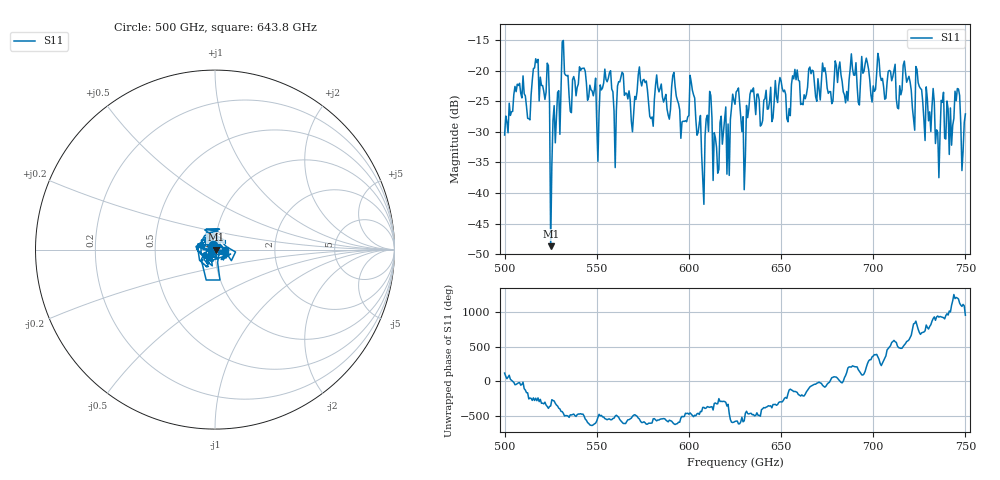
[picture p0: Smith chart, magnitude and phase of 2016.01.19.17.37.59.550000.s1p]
!Created with skrf (http://scikit-rf.org).
# GHz S RI R 50.0
!freq ReS11 ImS11
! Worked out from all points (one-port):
!   401 points, 500 GHz to 750 GHz, reference 50 ohm
!   lowest |S11| = -48.7 dB at 525 GHz (marker M1), VSWR 1.01, Z = 50.4 + j0.00364 ohm
!   |S11| at or under -10 dB: start of sweep to end of sweep
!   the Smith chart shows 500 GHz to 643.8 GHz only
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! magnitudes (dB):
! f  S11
! 500 GHz  -30.5
! 506.9 GHz  -22.2
! 513.1 GHz  -27.8
! 516.9 GHz  -18.1
! 523.1 GHz  -18.8
! 525 GHz  -48.7
! 526.2 GHz  -28.1
! 531.2 GHz  -15.3
! 551.2 GHz  -26.9
! 562.5 GHz  -21.8
! 569.4 GHz  -30.0
! 573.8 GHz  -21.7
! 579.4 GHz  -27.8
! 593.8 GHz  -24.8
! 596.9 GHz  -28.3
! 601.9 GHz  -23.2
! 608.1 GHz  -41.8
! 610.6 GHz  -29.9
! 614.4 GHz  -31.0
! 625 GHz  -25.5
! 629.4 GHz  -27.5
! 634.4 GHz  -23.4
! 656.2 GHz  -20.8
! 687.5 GHz  -19.7
! 718.8 GHz  -21.4
! 735 GHz  -30.1
! 745.6 GHz  -22.9
! 750 GHz  -27.1
